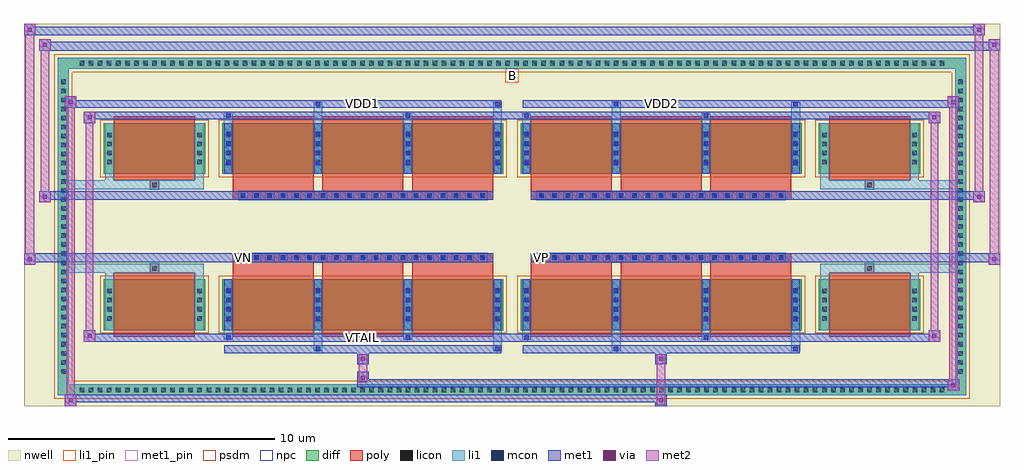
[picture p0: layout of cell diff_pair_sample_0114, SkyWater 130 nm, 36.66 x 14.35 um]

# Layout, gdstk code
import gdstk
lib = gdstk.Library(unit=1e-6, precision=5e-09)
def R(c, l, rs):  # rectangles x0, y0, x1, y1
    for r in rs: c.add(gdstk.rectangle(r[:2], r[2:], *l))
def A(c, l, x, y, w, h, nx, ny, dx, dy):  # array of equal rectangles
    R(c, l, [(x+i*dx, y+j*dy, x+i*dx+w, y+j*dy+h) for i in range(nx) for j in range(ny)])
def P(c, l, *ps):  # polygons
    for p in ps: c.add(gdstk.Polygon(p, *l))
nwell = (64, 20)
diff = (65, 20)
poly = (66, 20)
licon = (66, 44)
li1_pin = (67, 16)
li1 = (67, 20)
mcon = (67, 44)
met1_pin = (68, 16)
met1 = (68, 20)
via = (68, 44)
met2 = (69, 20)
psdm = (94, 20)
npc = (95, 20)

diff_pair_sample_0114 = lib.new_cell('diff_pair_sample_0114')
R(diff_pair_sample_0114, nwell, [(-18.33,-6.74,18.33,7.61), (-15.65,-4.93,-0.01,-0.805), (0.01,-4.93,15.65,-0.805), (-15.65,0.805,-0.01,4.93), (0.01,0.805,15.65,4.93)])
A(diff_pair_sample_0114, diff, -16.355, -6.34, 0.41, 0.41, 96, 2, 0.34, 12.27)
A(diff_pair_sample_0114, diff, -17.06, -5.645, 0.41, 0.41, 1, 33, 0, 0.34)
A(diff_pair_sample_0114, diff, 16.65, -5.645, 0.41, 0.41, 1, 33, 0, 0.34)
R(diff_pair_sample_0114, diff, [(-16.355,-6.34,16.355,-5.93), (-17.06,-5.645,-16.65,5.645), (16.65,-5.645,17.06,5.645), (-15.34,-3.885,-11.52,-1.985), (-10.88,-3.885,-0.32,-1.985), (0.32,-3.885,10.88,-1.985), (11.52,-3.885,15.34,-1.985), (-15.34,1.985,-11.52,3.885), (-10.88,1.985,-0.32,3.885), (0.32,1.985,10.88,3.885), (11.52,1.985,15.34,3.885), (-16.355,5.93,16.355,6.34)])
P(diff_pair_sample_0114, diff, [(17.06,6.34),(-17.06,6.34),(-17.06,-5.93),(-16.65,-5.93),(-16.65,5.93),(16.65,5.93),(16.65,-5.93),(-16.65,-5.93),(-17.06,-5.93),(-17.06,-6.34),(17.06,-6.34)])
A(diff_pair_sample_0114, poly, -10.49, -4.135, 3.04, 2.4, 3, 2, 3.37, 5.87)
A(diff_pair_sample_0114, poly, 0.71, -4.135, 3.04, 2.4, 3, 2, 3.37, 5.87)
A(diff_pair_sample_0114, poly, -10.49, -1.735, 3.04, 0.4, 3, 2, 3.37, 3.07)
A(diff_pair_sample_0114, poly, 0.71, -1.735, 3.04, 0.4, 3, 2, 3.37, 3.07)
A(diff_pair_sample_0114, poly, -10.265, -1.335, 0.33, 0.33, 19, 2, 0.5, 2.34)
A(diff_pair_sample_0114, poly, 0.935, -1.335, 0.33, 0.33, 19, 2, 0.5, 2.34)
R(diff_pair_sample_0114, poly, [(-14.95,-4.135,-11.91,-1.735), (11.91,-4.135,14.95,-1.735), (-13.595,-1.735,-13.265,-1.405), (-13.595,-1.735,-13.265,-1.405), (13.265,-1.735,13.595,-1.405), (13.265,-1.735,13.595,-1.405), (-10.49,-1.335,-0.71,-1.005), (0.71,-1.335,10.49,-1.005), (-10.49,1.005,-0.71,1.335), (0.71,1.005,10.49,1.335), (-13.595,1.405,-13.265,1.735), (-13.595,1.405,-13.265,1.735), (13.265,1.405,13.595,1.735), (13.265,1.405,13.595,1.735), (-14.95,1.735,-11.91,4.135), (11.91,1.735,14.95,4.135)])
A(diff_pair_sample_0114, licon, -16.235, -6.22, 0.17, 0.17, 96, 2, 0.34, 12.27)
A(diff_pair_sample_0114, licon, -16.94, -5.525, 0.17, 0.17, 1, 33, 0, 0.34)
A(diff_pair_sample_0114, licon, 16.77, -5.525, 0.17, 0.17, 1, 33, 0, 0.34)
A(diff_pair_sample_0114, licon, -15.2, -3.53, 0.17, 0.17, 1, 4, 0, 0.34)
A(diff_pair_sample_0114, licon, -11.83, -3.53, 0.17, 0.17, 1, 4, 0, 0.34)
A(diff_pair_sample_0114, licon, -10.74, -3.53, 0.17, 0.17, 4, 4, 3.37, 0.34)
A(diff_pair_sample_0114, licon, 0.46, -3.53, 0.17, 0.17, 4, 4, 3.37, 0.34)
A(diff_pair_sample_0114, licon, 11.66, -3.53, 0.17, 0.17, 1, 4, 0, 0.34)
A(diff_pair_sample_0114, licon, 15.03, -3.53, 0.17, 0.17, 1, 4, 0, 0.34)
A(diff_pair_sample_0114, licon, -10.185, -1.255, 0.17, 0.17, 19, 2, 0.5, 2.34)
A(diff_pair_sample_0114, licon, 1.015, -1.255, 0.17, 0.17, 19, 2, 0.5, 2.34)
A(diff_pair_sample_0114, licon, -15.2, 2.34, 0.17, 0.17, 1, 4, 0, 0.34)
A(diff_pair_sample_0114, licon, -11.83, 2.34, 0.17, 0.17, 1, 4, 0, 0.34)
A(diff_pair_sample_0114, licon, -10.74, 2.34, 0.17, 0.17, 4, 4, 3.37, 0.34)
A(diff_pair_sample_0114, licon, 0.46, 2.34, 0.17, 0.17, 4, 4, 3.37, 0.34)
A(diff_pair_sample_0114, licon, 11.66, 2.34, 0.17, 0.17, 1, 4, 0, 0.34)
A(diff_pair_sample_0114, licon, 15.03, 2.34, 0.17, 0.17, 1, 4, 0, 0.34)
R(diff_pair_sample_0114, licon, [(-13.515,-1.655,-13.345,-1.485), (13.345,-1.655,13.515,-1.485), (-13.515,1.485,-13.345,1.655), (13.345,1.485,13.515,1.655)])
R(diff_pair_sample_0114, li1_pin, [(-0.25,5.43,0.25,5.93)])
A(diff_pair_sample_0114, li1, -16.315, -6.3, 0.33, 0.33, 96, 2, 0.34, 12.27)
A(diff_pair_sample_0114, li1, -17.02, -5.605, 0.33, 0.33, 1, 33, 0, 0.34)
A(diff_pair_sample_0114, li1, 16.69, -5.605, 0.33, 0.33, 1, 33, 0, 0.34)
A(diff_pair_sample_0114, li1, -10.82, -3.885, 0.33, 1.9, 4, 2, 3.37, 5.87)
A(diff_pair_sample_0114, li1, 0.38, -3.885, 0.33, 1.9, 4, 2, 3.37, 5.87)
A(diff_pair_sample_0114, li1, -15.28, -3.61, 0.33, 0.33, 1, 4, 0, 0.34)
A(diff_pair_sample_0114, li1, -11.91, -3.61, 0.33, 0.33, 1, 4, 0, 0.34)
A(diff_pair_sample_0114, li1, -10.82, -3.61, 0.33, 0.33, 4, 4, 3.37, 0.34)
A(diff_pair_sample_0114, li1, 0.38, -3.61, 0.33, 0.33, 4, 4, 3.37, 0.34)
A(diff_pair_sample_0114, li1, 11.58, -3.61, 0.33, 0.33, 1, 4, 0, 0.34)
A(diff_pair_sample_0114, li1, 14.95, -3.61, 0.33, 0.33, 1, 4, 0, 0.34)
A(diff_pair_sample_0114, li1, -10.74, -3.56, 0.17, 0.17, 4, 4, 3.37, 0.36)
A(diff_pair_sample_0114, li1, -10.74, -3.56, 0.17, 1.25, 4, 2, 3.37, 5.87)
A(diff_pair_sample_0114, li1, 0.46, -3.56, 0.17, 0.17, 4, 4, 3.37, 0.36)
A(diff_pair_sample_0114, li1, 0.46, -3.56, 0.17, 1.25, 4, 2, 3.37, 5.87)
A(diff_pair_sample_0114, li1, -10.265, -1.335, 0.33, 0.33, 19, 2, 0.5, 2.34)
A(diff_pair_sample_0114, li1, 0.935, -1.335, 0.33, 0.33, 19, 2, 0.5, 2.34)
A(diff_pair_sample_0114, li1, -15.28, 2.26, 0.33, 0.33, 1, 4, 0, 0.34)
A(diff_pair_sample_0114, li1, -11.91, 2.26, 0.33, 0.33, 1, 4, 0, 0.34)
A(diff_pair_sample_0114, li1, -10.82, 2.26, 0.33, 0.33, 4, 4, 3.37, 0.34)
A(diff_pair_sample_0114, li1, 0.38, 2.26, 0.33, 0.33, 4, 4, 3.37, 0.34)
A(diff_pair_sample_0114, li1, 11.58, 2.26, 0.33, 0.33, 1, 4, 0, 0.34)
A(diff_pair_sample_0114, li1, 14.95, 2.26, 0.33, 0.33, 1, 4, 0, 0.34)
A(diff_pair_sample_0114, li1, -10.74, 2.31, 0.17, 0.17, 4, 4, 3.37, 0.36)
A(diff_pair_sample_0114, li1, 0.46, 2.31, 0.17, 0.17, 4, 4, 3.37, 0.36)
R(diff_pair_sample_0114, li1, [(-17.06,-6.34,-16.65,-5.93), (-17.06,-6.34,-16.65,-5.93), (-16.65,-6.34,16.65,-5.93), (16.65,-6.34,17.06,-5.93), (16.65,-6.34,17.06,-5.93), (-17.06,-5.93,-16.65,5.93), (16.65,-5.93,17.06,5.93), (-7.45,-4.69,-7.12,-3.885), (-7.37,-4.69,-7.2,-4.52), (-0.71,-4.69,-0.38,-3.885), (-0.63,-4.69,-0.46,-4.52), (3.75,-4.69,4.08,-3.885), (3.83,-4.69,4,-4.52), (10.49,-4.69,10.82,-3.885), (10.57,-4.69,10.74,-4.52), (-10.82,-4.26,-10.49,-3.885), (-10.74,-4.26,-10.57,-4.09), (-4.08,-4.26,-3.75,-3.885), (-4,-4.26,-3.83,-4.09), (0.38,-4.26,0.71,-3.885), (0.46,-4.26,0.63,-4.09), (7.12,-4.26,7.45,-3.885), (7.2,-4.26,7.37,-4.09), (-15.28,-3.885,-14.95,-1.985), (-11.91,-3.885,-11.58,-1.985), (11.58,-3.885,11.91,-1.985), (14.95,-3.885,15.28,-1.985), (-15.28,-1.985,-14.95,-1.405), (-11.91,-1.985,-11.58,-1.405), (11.58,-1.985,11.91,-1.405), (14.95,-1.985,15.28,-1.405), (-17.06,-1.735,-13.595,-1.405), (-15.28,-1.735,-13.595,-1.405), (-13.595,-1.735,-13.265,-1.405), (-13.265,-1.735,-11.58,-1.405), (11.58,-1.735,13.265,-1.405), (13.265,-1.735,13.595,-1.405), (13.265,-1.735,17.06,-1.405), (13.595,-1.735,15.28,-1.405), (-17.06,1.405,-13.595,1.735), (-15.28,1.405,-13.595,1.735), (-15.28,1.405,-14.95,1.985), (-13.595,1.405,-13.265,1.735), (-13.265,1.405,-11.58,1.735), (-11.91,1.405,-11.58,1.985), (11.58,1.405,13.265,1.735), (11.58,1.405,11.91,1.985), (13.265,1.405,13.595,1.735), (13.265,1.405,17.06,1.735), (13.595,1.405,15.28,1.735), (14.95,1.405,15.28,1.985), (-15.28,1.985,-14.95,3.885), (-11.91,1.985,-11.58,3.885), (11.58,1.985,11.91,3.885), (14.95,1.985,15.28,3.885), (-10.82,3.885,-10.49,4.26), (-7.45,3.885,-7.12,4.69), (-4.08,3.885,-3.75,4.26), (-0.71,3.885,-0.38,4.69), (0.38,3.885,0.71,4.26), (3.75,3.885,4.08,4.69), (7.12,3.885,7.45,4.26), (10.49,3.885,10.82,4.69), (-10.74,4.09,-10.57,4.26), (-4,4.09,-3.83,4.26), (0.46,4.09,0.63,4.26), (7.2,4.09,7.37,4.26), (-7.37,4.52,-7.2,4.69), (-0.63,4.52,-0.46,4.69), (3.83,4.52,4,4.69), (10.57,4.52,10.74,4.69), (-17.06,5.93,-16.65,6.34), (-17.06,5.93,-16.65,6.34), (-16.65,5.93,16.65,6.34), (16.65,5.93,17.06,6.34), (16.65,5.93,17.06,6.34)])
A(diff_pair_sample_0114, mcon, -10.74, -3.56, 0.17, 0.17, 4, 4, 3.37, 0.36)
A(diff_pair_sample_0114, mcon, 0.46, -3.56, 0.17, 0.17, 4, 4, 3.37, 0.36)
A(diff_pair_sample_0114, mcon, -10.185, -1.255, 0.17, 0.17, 19, 2, 0.5, 2.34)
A(diff_pair_sample_0114, mcon, 1.015, -1.255, 0.17, 0.17, 19, 2, 0.5, 2.34)
A(diff_pair_sample_0114, mcon, -10.74, 2.31, 0.17, 0.17, 4, 4, 3.37, 0.36)
A(diff_pair_sample_0114, mcon, 0.46, 2.31, 0.17, 0.17, 4, 4, 3.37, 0.36)
R(diff_pair_sample_0114, mcon, [(-7.37,-4.69,-7.2,-4.52), (-0.63,-4.69,-0.46,-4.52), (3.83,-4.69,4,-4.52), (10.57,-4.69,10.74,-4.52), (-10.74,-4.26,-10.57,-4.09), (-4,-4.26,-3.83,-4.09), (0.46,-4.26,0.63,-4.09), (7.2,-4.26,7.37,-4.09), (-10.74,4.09,-10.57,4.26), (-4,4.09,-3.83,4.26), (0.46,4.09,0.63,4.26), (7.2,4.09,7.37,4.26), (-7.37,4.52,-7.2,4.69), (-0.63,4.52,-0.46,4.69), (3.83,4.52,4,4.69), (10.57,4.52,10.74,4.69)])
R(diff_pair_sample_0114, met1_pin, [(-5.735,-4.3,-5.465,-4.03), (-10.235,-1.295,-9.965,-1.025), (0.965,-1.295,1.235,-1.025), (-5.735,4.48,-5.465,4.75), (5.465,4.48,5.735,4.75)])
A(diff_pair_sample_0114, met1, -10.8, -3.885, 0.29, 1.9, 4, 2, 3.37, 5.87)
A(diff_pair_sample_0114, met1, 0.4, -3.885, 0.29, 1.9, 4, 2, 3.37, 5.87)
A(diff_pair_sample_0114, met1, -10.8, -3.62, 0.29, 0.29, 4, 4, 3.37, 0.36)
A(diff_pair_sample_0114, met1, 0.4, -3.62, 0.29, 0.29, 4, 4, 3.37, 0.36)
A(diff_pair_sample_0114, met1, -10.245, -1.315, 0.29, 0.29, 19, 2, 0.5, 2.34)
A(diff_pair_sample_0114, met1, 0.955, -1.315, 0.29, 0.29, 19, 2, 0.5, 2.34)
A(diff_pair_sample_0114, met1, -10.8, 2.25, 0.29, 0.29, 4, 4, 3.37, 0.36)
A(diff_pair_sample_0114, met1, 0.4, 2.25, 0.29, 0.29, 4, 4, 3.37, 0.36)
R(diff_pair_sample_0114, met1, [(-16.79,-6.74,-16.36,-6.31), (5.385,-6.74,5.815,-6.31), (-16.79,-6.6,5.815,-6.31), (16.36,-6.17,16.79,-5.74), (-5.815,-6.03,16.79,-5.74), (-5.815,-5.89,-5.385,-5.46), (-5.815,-5.18,-5.385,-4.75), (5.385,-5.18,5.815,-4.75), (-10.8,-4.75,-0.4,-4.46), (-7.43,-4.75,-7.14,-4.46), (-0.69,-4.75,-0.4,-4.46), (0.4,-4.75,10.8,-4.46), (3.77,-4.75,4.06,-4.46), (10.51,-4.75,10.8,-4.46), (-16.08,-4.32,-15.65,-3.89), (-16.08,-4.32,-10.8,-4.03), (-10.8,-4.32,-10.51,-4.03), (-10.8,-4.32,-0.4,-4.03), (-4.06,-4.32,-3.77,-4.03), (-0.4,-4.32,0.4,-4.03), (0.4,-4.32,0.69,-4.03), (0.4,-4.32,10.8,-4.03), (7.14,-4.32,7.43,-4.03), (10.8,-4.32,16.08,-4.03), (15.65,-4.32,16.08,-3.89), (-18.33,-1.435,-17.9,-1.005), (17.9,-1.435,18.33,-1.005), (-18.33,-1.335,-0.71,-1.005), (-10.49,-1.335,-0.71,-1.005), (0.71,-1.335,10.49,-1.005), (0.71,-1.335,18.33,-1.005), (-17.76,0.905,-17.33,1.335), (17.33,0.905,17.76,1.335), (-17.76,1.005,-10.49,1.335), (-10.49,1.005,-0.71,1.335), (0.71,1.005,10.49,1.335), (10.49,1.005,17.76,1.335), (-16.08,3.89,-15.65,4.32), (15.65,3.89,16.08,4.32), (-16.08,4.03,-10.8,4.32), (-10.8,4.03,-10.51,4.32), (-10.8,4.03,-0.4,4.32), (-4.06,4.03,-3.77,4.32), (-0.4,4.03,0.4,4.32), (0.4,4.03,0.69,4.32), (0.4,4.03,10.8,4.32), (7.14,4.03,7.43,4.32), (10.8,4.03,16.08,4.32), (-16.79,4.46,-16.36,4.89), (-16.79,4.46,-10.8,4.75), (-10.8,4.46,-0.4,4.75), (-7.43,4.46,-7.14,4.75), (-0.69,4.46,-0.4,4.75), (0.4,4.46,10.8,4.75), (3.77,4.46,4.06,4.75), (10.51,4.46,10.8,4.75), (10.8,4.46,16.79,4.75), (16.36,4.46,16.79,4.89), (-17.76,6.61,-17.33,7.04), (-17.76,6.61,-15.65,6.94), (-15.65,6.61,15.65,6.94), (15.65,6.61,18.33,6.94), (17.9,6.61,18.33,7.04), (-18.33,7.18,-17.9,7.61), (-18.33,7.18,-15.65,7.51), (-15.65,7.18,15.65,7.51), (15.65,7.18,17.76,7.51), (17.33,7.18,17.76,7.61)])
R(diff_pair_sample_0114, via, [(-16.65,-6.6,-16.5,-6.45), (5.525,-6.6,5.675,-6.45), (16.5,-6.03,16.65,-5.88), (-5.675,-5.75,-5.525,-5.6), (-5.675,-5.04,-5.525,-4.89), (5.525,-5.04,5.675,-4.89), (-15.94,-4.18,-15.79,-4.03), (15.79,-4.18,15.94,-4.03), (-18.19,-1.295,-18.04,-1.145), (18.04,-1.295,18.19,-1.145), (-17.62,1.045,-17.47,1.195), (17.47,1.045,17.62,1.195), (-15.94,4.03,-15.79,4.18), (15.79,4.03,15.94,4.18), (-16.65,4.6,-16.5,4.75), (16.5,4.6,16.65,4.75), (-17.62,6.75,-17.47,6.9), (18.04,6.75,18.19,6.9), (-18.19,7.32,-18.04,7.47), (17.47,7.32,17.62,7.47)])
R(diff_pair_sample_0114, met2, [(-16.79,-6.74,-16.36,-6.31), (-16.72,-6.74,-16.43,4.89), (-16.43,-6.74,-16.36,-6.31), (-16.74,-6.69,-16.41,-6.36), (5.435,-6.69,5.765,-6.36), (5.435,-6.36,5.765,-5.13), (16.36,-6.17,16.79,-5.74), (16.43,-6.17,16.72,4.89), (16.72,-6.17,16.79,-5.74), (16.41,-6.12,16.74,-5.79), (-5.765,-5.84,-5.435,-5.51), (-5.765,-5.51,-5.435,-5.13), (-5.765,-5.13,-5.435,-4.8), (5.435,-5.13,5.765,-4.8), (-16.08,-4.32,-15.65,-3.89), (-16.01,-4.32,-15.72,4.32), (-15.72,-4.32,-15.65,-3.89), (15.65,-4.32,16.08,-3.89), (15.72,-4.32,16.01,4.32), (16.01,-4.32,16.08,-3.89), (-16.03,-4.27,-15.7,-3.94), (15.7,-4.27,16.03,-3.94), (-18.33,-1.435,-17.9,-1.005), (-18.28,-1.435,-17.95,7.61), (-17.95,-1.435,-17.9,-1.005), (17.9,-1.435,18.33,-1.005), (17.95,-1.435,18.28,7.04), (18.28,-1.435,18.33,-1.005), (-18.28,-1.385,-17.95,-1.055), (17.95,-1.385,18.28,-1.055), (-17.76,0.905,-17.33,1.335), (-17.71,0.905,-17.38,7.04), (-17.38,0.905,-17.33,1.335), (17.33,0.905,17.76,1.335), (17.38,0.905,17.71,7.61), (17.71,0.905,17.76,1.335), (-17.71,0.955,-17.38,1.285), (17.38,0.955,17.71,1.285), (-16.08,3.89,-15.65,4.32), (-15.72,3.89,-15.65,4.32), (15.65,3.89,16.08,4.32), (16.01,3.89,16.08,4.32), (-16.03,3.94,-15.7,4.27), (15.7,3.94,16.03,4.27), (-16.79,4.46,-16.36,4.89), (-16.43,4.46,-16.36,4.89), (16.36,4.46,16.79,4.89), (16.72,4.46,16.79,4.89), (-16.74,4.51,-16.41,4.84), (16.41,4.51,16.74,4.84), (-17.76,6.61,-17.33,7.04), (-17.38,6.61,-17.33,7.04), (17.9,6.61,18.33,7.04), (18.28,6.61,18.33,7.04), (-17.71,6.66,-17.38,6.99), (17.95,6.66,18.28,6.99), (-18.33,7.18,-17.9,7.61), (-17.95,7.18,-17.9,7.61), (17.33,7.18,17.76,7.61), (17.71,7.18,17.76,7.61), (-18.28,7.23,-17.95,7.56), (17.38,7.23,17.71,7.56)])
R(diff_pair_sample_0114, psdm, [(-15.47,-4.015,-11.39,-1.855), (-11.01,-4.015,-0.19,-1.855), (0.19,-4.015,11.01,-1.855), (11.39,-4.015,15.47,-1.855), (-15.47,1.855,-11.39,4.015), (-11.01,1.855,-0.19,4.015), (0.19,1.855,11.01,4.015), (11.39,1.855,15.47,4.015)])
P(diff_pair_sample_0114, psdm, [(17.19,6.47),(-17.19,6.47),(-17.19,-5.8),(-16.52,-5.8),(-16.52,5.8),(16.52,5.8),(16.52,-5.8),(-16.52,-5.8),(-17.19,-5.8),(-17.19,-6.47),(17.19,-6.47)])
A(diff_pair_sample_0114, npc, -10.285, -1.355, 0.37, 0.37, 19, 2, 0.5, 2.34)
A(diff_pair_sample_0114, npc, 0.915, -1.355, 0.37, 0.37, 19, 2, 0.5, 2.34)
R(diff_pair_sample_0114, npc, [(-13.615,-1.755,-13.245,-1.385), (13.245,-1.755,13.615,-1.385), (-10.285,-1.355,-9.415,-0.985), (-10.285,-1.355,-9.415,-0.985), (-9.785,-1.355,-8.915,-0.985), (-9.785,-1.355,-8.915,-0.985), (-9.285,-1.355,-8.415,-0.985), (-9.285,-1.355,-8.415,-0.985), (-8.785,-1.355,-7.915,-0.985), (-8.785,-1.355,-7.915,-0.985), (-8.285,-1.355,-7.415,-0.985), (-8.285,-1.355,-7.415,-0.985), (-7.785,-1.355,-6.915,-0.985), (-7.785,-1.355,-6.915,-0.985), (-7.285,-1.355,-6.415,-0.985), (-7.285,-1.355,-6.415,-0.985), (-6.785,-1.355,-5.915,-0.985), (-6.785,-1.355,-5.915,-0.985), (-6.285,-1.355,-5.415,-0.985), (-6.285,-1.355,-5.415,-0.985), (-5.785,-1.355,-4.915,-0.985), (-5.785,-1.355,-4.915,-0.985), (-5.285,-1.355,-4.415,-0.985), (-5.285,-1.355,-4.415,-0.985), (-4.785,-1.355,-3.915,-0.985), (-4.785,-1.355,-3.915,-0.985), (-4.285,-1.355,-3.415,-0.985), (-4.285,-1.355,-3.415,-0.985), (-3.785,-1.355,-2.915,-0.985), (-3.785,-1.355,-2.915,-0.985), (-3.285,-1.355,-2.415,-0.985), (-3.285,-1.355,-2.415,-0.985), (-2.785,-1.355,-1.915,-0.985), (-2.785,-1.355,-1.915,-0.985), (-2.285,-1.355,-1.415,-0.985), (-2.285,-1.355,-1.415,-0.985), (-1.785,-1.355,-0.915,-0.985), (-1.785,-1.355,-0.915,-0.985), (0.915,-1.355,1.785,-0.985), (0.915,-1.355,1.785,-0.985), (1.415,-1.355,2.285,-0.985), (1.415,-1.355,2.285,-0.985), (1.915,-1.355,2.785,-0.985), (1.915,-1.355,2.785,-0.985), (2.415,-1.355,3.285,-0.985), (2.415,-1.355,3.285,-0.985), (2.915,-1.355,3.785,-0.985), (2.915,-1.355,3.785,-0.985), (3.415,-1.355,4.285,-0.985), (3.415,-1.355,4.285,-0.985), (3.915,-1.355,4.785,-0.985), (3.915,-1.355,4.785,-0.985), (4.415,-1.355,5.285,-0.985), (4.415,-1.355,5.285,-0.985), (4.915,-1.355,5.785,-0.985), (4.915,-1.355,5.785,-0.985), (5.415,-1.355,6.285,-0.985), (5.415,-1.355,6.285,-0.985), (5.915,-1.355,6.785,-0.985), (5.915,-1.355,6.785,-0.985), (6.415,-1.355,7.285,-0.985), (6.415,-1.355,7.285,-0.985), (6.915,-1.355,7.785,-0.985), (6.915,-1.355,7.785,-0.985), (7.415,-1.355,8.285,-0.985), (7.415,-1.355,8.285,-0.985), (7.915,-1.355,8.785,-0.985), (7.915,-1.355,8.785,-0.985), (8.415,-1.355,9.285,-0.985), (8.415,-1.355,9.285,-0.985), (8.915,-1.355,9.785,-0.985), (8.915,-1.355,9.785,-0.985), (9.415,-1.355,10.285,-0.985), (9.415,-1.355,10.285,-0.985), (-10.285,0.985,-9.415,1.355), (-10.285,0.985,-9.415,1.355), (-9.785,0.985,-8.915,1.355), (-9.785,0.985,-8.915,1.355), (-9.285,0.985,-8.415,1.355), (-9.285,0.985,-8.415,1.355), (-8.785,0.985,-7.915,1.355), (-8.785,0.985,-7.915,1.355), (-8.285,0.985,-7.415,1.355), (-8.285,0.985,-7.415,1.355), (-7.785,0.985,-6.915,1.355), (-7.785,0.985,-6.915,1.355), (-7.285,0.985,-6.415,1.355), (-7.285,0.985,-6.415,1.355), (-6.785,0.985,-5.915,1.355), (-6.785,0.985,-5.915,1.355), (-6.285,0.985,-5.415,1.355), (-6.285,0.985,-5.415,1.355), (-5.785,0.985,-4.915,1.355), (-5.785,0.985,-4.915,1.355), (-5.285,0.985,-4.415,1.355), (-5.285,0.985,-4.415,1.355), (-4.785,0.985,-3.915,1.355), (-4.785,0.985,-3.915,1.355), (-4.285,0.985,-3.415,1.355), (-4.285,0.985,-3.415,1.355), (-3.785,0.985,-2.915,1.355), (-3.785,0.985,-2.915,1.355), (-3.285,0.985,-2.415,1.355), (-3.285,0.985,-2.415,1.355), (-2.785,0.985,-1.915,1.355), (-2.785,0.985,-1.915,1.355), (-2.285,0.985,-1.415,1.355), (-2.285,0.985,-1.415,1.355), (-1.785,0.985,-0.915,1.355), (-1.785,0.985,-0.915,1.355), (0.915,0.985,1.785,1.355), (0.915,0.985,1.785,1.355), (1.415,0.985,2.285,1.355), (1.415,0.985,2.285,1.355), (1.915,0.985,2.785,1.355), (1.915,0.985,2.785,1.355), (2.415,0.985,3.285,1.355), (2.415,0.985,3.285,1.355), (2.915,0.985,3.785,1.355), (2.915,0.985,3.785,1.355), (3.415,0.985,4.285,1.355), (3.415,0.985,4.285,1.355), (3.915,0.985,4.785,1.355), (3.915,0.985,4.785,1.355), (4.415,0.985,5.285,1.355), (4.415,0.985,5.285,1.355), (4.915,0.985,5.785,1.355), (4.915,0.985,5.785,1.355), (5.415,0.985,6.285,1.355), (5.415,0.985,6.285,1.355), (5.915,0.985,6.785,1.355), (5.915,0.985,6.785,1.355), (6.415,0.985,7.285,1.355), (6.415,0.985,7.285,1.355), (6.915,0.985,7.785,1.355), (6.915,0.985,7.785,1.355), (7.415,0.985,8.285,1.355), (7.415,0.985,8.285,1.355), (7.915,0.985,8.785,1.355), (7.915,0.985,8.785,1.355), (8.415,0.985,9.285,1.355), (8.415,0.985,9.285,1.355), (8.915,0.985,9.785,1.355), (8.915,0.985,9.785,1.355), (9.415,0.985,10.285,1.355), (9.415,0.985,10.285,1.355), (-13.615,1.385,-13.245,1.755), (13.245,1.385,13.615,1.755)])
diff_pair_sample_0114.add(gdstk.Label('VTAIL', (-5.6,-4.165), layer=68, texttype=5))
diff_pair_sample_0114.add(gdstk.Label('VN', (-10.1,-1.16), layer=68, texttype=5))
diff_pair_sample_0114.add(gdstk.Label('VP', (1.1,-1.16), layer=68, texttype=5))
diff_pair_sample_0114.add(gdstk.Label('B', (0,5.68), layer=67, texttype=5))
diff_pair_sample_0114.add(gdstk.Label('VDD2', (5.6,4.615), layer=68, texttype=5))
diff_pair_sample_0114.add(gdstk.Label('VDD1', (-5.6,4.615), layer=68, texttype=5))

lib.write_gds('diff_pair_sample_0114.gds')
